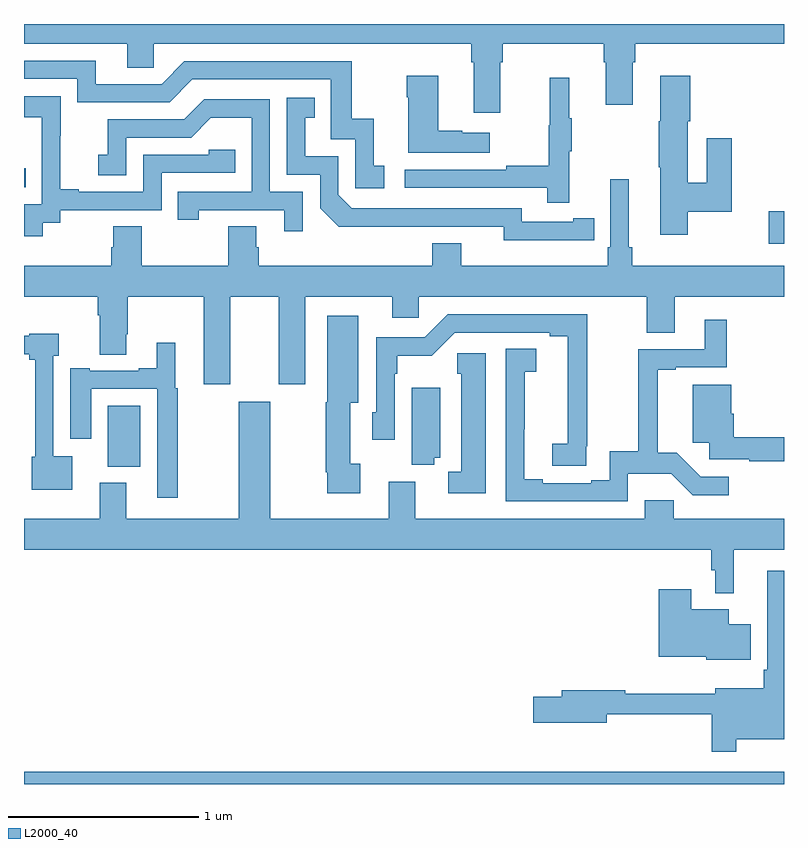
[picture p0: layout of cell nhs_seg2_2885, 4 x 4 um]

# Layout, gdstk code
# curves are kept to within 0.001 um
import gdstk
lib = gdstk.Library(unit=1e-6, precision=1e-09)
def R(c, l, rs):  # rectangles x0, y0, x1, y1
    for r in rs: c.add(gdstk.rectangle(r[:2], r[2:], *l))
def P(c, l, *ps):  # polygons
    for p in ps: c.add(gdstk.Polygon(p, *l))
L2000_40 = (2000, 40)

nhs_seg2_2885 = lib.new_cell('nhs_seg2_2885')
R(nhs_seg2_2885, L2000_40, [(263,583.8,267,583.864), (263.441,585.47,263.611,585.79), (266.919,586.643,267,586.814), (263,586.941,263.009,587.042)])
P(nhs_seg2_2885, L2000_40, [(265.507,587.6),(265.52,587.6),(265.52,587.696),(266.051,587.696),(266.051,587.6),(266.063,587.6),(266.063,587.376),(266.203,587.376),(266.203,587.6),(266.216,587.6),(266.216,587.696),(267,587.696),(267,587.8),(263,587.8),(263,587.696),(263.543,587.696),(263.543,587.569),(263.682,587.569),(263.682,587.696),(265.355,587.696),(265.355,587.6),(265.367,587.6),(265.367,587.334),(265.507,587.334)],
  [(264.895,587.055),(264.842,587.055),(264.842,587.302),(264.724,587.302),(264.724,587.604),(263.844,587.604),(263.724,587.484),(263.377,587.484),(263.377,587.607),(263,587.607),(263,587.511),(263.28,587.511),(263.28,587.388),(263.766,587.388),(263.886,587.508),(264.615,587.508),(264.615,587.193),(264.744,587.193),(264.744,586.935),(264.895,586.935)],
  [(266.494,586.811),(266.724,586.811),(266.724,587.2),(266.594,587.2),(266.594,586.964),(266.494,586.964),(266.494,587.287),(266.507,587.287),(266.507,587.527),(266.348,587.527),(266.348,587.288),(266.341,587.288),(266.341,587.047),(266.348,587.047),(266.348,586.692),(266.494,586.692)],
  [(265.45,587.227),(265.307,587.227),(265.307,587.237),(265.18,587.237),(265.18,587.527),(265.015,587.527),(265.015,587.414),(265.022,587.414),(265.022,587.123),(265.45,587.123)],
  [(265.871,587.131),(265.882,587.131),(265.882,587.305),(265.871,587.305),(265.871,587.518),(265.768,587.518),(265.768,587.268),(265.761,587.268),(265.761,587.054),(265.537,587.054),(265.537,587.034),(265.005,587.034),(265.005,586.938),(265.753,586.938),(265.753,586.86),(265.871,586.86)],
  [(263.098,586.753),(263.19,586.753),(263.19,586.821),(263.724,586.821),(263.724,587.016),(264.113,587.016),(264.113,587.139),(263.973,587.139),(263.973,587.112),(263.628,587.112),(263.628,586.917),(263.287,586.917),(263.287,586.93),(263.192,586.93),(263.192,587.213),(263.193,587.213),(263.193,587.419),(263,587.419),(263,587.309),(263.093,587.309),(263.093,587.081),(263.094,587.081),(263.094,586.851),(263,586.851),(263,586.683),(263.098,586.683)],
  [(265.892,586.662),(266,586.662),(266,586.778),(265.892,586.778),(265.892,586.758),(265.62,586.758),(265.62,586.83),(264.726,586.83),(264.654,586.902),(264.654,587.103),(264.481,587.103),(264.481,587.307),(264.53,587.307),(264.53,587.413),(264.384,587.413),(264.384,587.007),(264.558,587.007),(264.558,586.83),(264.656,586.733),(265.524,586.734),(265.524,586.661)],
  [(264.468,586.917),(264.294,586.917),(264.294,587.403),(263.948,587.403),(263.843,587.298),(263.44,587.298),(263.44,587.113),(263.391,587.113),(263.391,587.004),(263.538,587.004),(263.538,587.202),(263.88,587.202),(263.984,587.306),(264.198,587.306),(264.198,586.917),(263.809,586.917),(263.809,586.77),(263.92,586.77),(263.92,586.821),(264.371,586.821),(264.371,586.71),(264.468,586.71)],
  [(264.085,586.364),(264.341,586.364),(264.341,585.903),(264.481,585.903),(264.481,586.364),(264.938,586.364),(264.938,586.254),(265.077,586.254),(265.077,586.364),(266.278,586.364),(266.278,586.174),(266.425,586.174),(266.425,586.364),(267,586.364),(267,586.528),(266.201,586.528),(266.201,586.624),(266.182,586.624),(266.182,586.984),(266.085,586.984),(266.085,586.624),(266.072,586.624),(266.072,586.528),(265.3,586.528),(265.3,586.645),(265.148,586.645),(265.148,586.528),(264.236,586.528),(264.236,586.626),(264.223,586.626),(264.223,586.736),(264.076,586.736),(264.076,586.528),(263.619,586.528),(263.619,586.736),(263.471,586.736),(263.471,586.626),(263.459,586.626),(263.459,586.528),(263,586.528),(263,586.364),(263.387,586.364),(263.387,586.268),(263.399,586.268),(263.399,586.06),(263.539,586.06),(263.539,586.168),(263.547,586.168),(263.547,586.364),(263.945,586.364),(263.945,585.903),(264.085,585.903)],
  [(265.958,585.577),(265.964,585.577),(265.964,586.272),(265.23,586.272),(265.11,586.152),(264.855,586.152),(264.855,585.756),(264.834,585.756),(264.834,585.612),(264.951,585.612),(264.951,585.959),(264.964,585.959),(264.964,586.055),(265.145,586.055),(265.266,586.176),(265.766,586.176),(265.766,586.156),(265.862,586.156),(265.861,585.59),(265.779,585.59),(265.779,585.475),(265.958,585.475)],
  [(264.769,585.486),(264.718,585.486),(264.718,585.806),(264.76,585.806),(264.76,586.264),(264.596,586.264),(264.596,585.81),(264.589,585.81),(264.589,585.442),(264.596,585.442),(264.596,585.33),(264.769,585.33)],
  [(266.178,585.434),(266.407,585.434),(266.52,585.321),(266.71,585.321),(266.71,585.417),(266.562,585.417),(266.435,585.544),(266.336,585.544),(266.336,585.981),(266.431,585.981),(266.431,585.993),(266.699,585.993),(266.699,586.243),(266.582,586.243),(266.582,586.089),(266.233,586.089),(266.233,585.551),(266.082,585.551),(266.082,585.398),(265.985,585.398),(265.985,585.384),(265.729,585.384),(265.729,585.404),(265.633,585.404),(265.633,585.667),(265.635,585.667),(265.635,585.971),(265.696,585.971),(265.696,586.091),(265.536,586.091),(265.536,585.288),(266.178,585.288)],
  [(263.254,585.526),(263.154,585.526),(263.154,586.053),(263.182,586.053),(263.182,586.171),(263.028,586.171),(263.028,586.16),(263,586.16),(263,586.062),(263.028,586.062),(263.028,586.034),(263.058,586.034),(263.058,585.522),(263.042,585.522),(263.042,585.35),(263.254,585.35)],
  [(263.809,585.882),(263.797,585.882),(263.797,586.123),(263.699,586.123),(263.699,585.988),(263.603,585.988),(263.603,585.975),(263.347,585.975),(263.347,585.988),(263.243,585.988),(263.243,585.618),(263.353,585.618),(263.353,585.879),(263.7,585.879),(263.7,585.306),(263.809,585.306)],
  [(265.429,586.066),(265.279,586.066),(265.279,585.96),(265.301,585.96),(265.301,585.444),(265.233,585.444),(265.233,585.329),(265.429,585.329)],
  [(267,585.626),(266.735,585.626),(266.735,585.75),(266.722,585.75),(266.722,585.901),(266.519,585.901),(266.519,585.596),(266.607,585.596),(266.607,585.51),(266.818,585.51),(266.818,585.498),(267,585.498)],
  [(265.16,585.518),(265.192,585.518),(265.192,585.886),(265.04,585.886),(265.04,585.481),(265.16,585.481)],
  [(266.267,585.294),(266.267,585.196),(265.06,585.196),(265.06,585.391),(264.92,585.391),(264.92,585.196),(264.295,585.196),(264.295,585.811),(264.131,585.811),(264.131,585.196),(263.539,585.196),(263.539,585.385),(263.399,585.385),(263.399,585.196),(263,585.196),(263,585.032),(266.617,585.032),(266.617,584.925),(266.637,584.925),(266.637,584.804),(266.735,584.804),(266.735,585.032),(267,585.032),(267,585.196),(266.419,585.196),(266.419,585.294)],
  [(266.749,584.036),(267,584.036),(267,584.923),(266.913,584.923),(266.913,584.401),(266.893,584.401),(266.893,584.305),(266.639,584.305),(266.639,584.276),(266.164,584.276),(266.164,584.294),(265.829,584.294),(265.829,584.258),(265.68,584.258),(265.68,584.123),(266.068,584.123),(266.068,584.166),(266.62,584.166),(266.62,583.971),(266.749,583.971)],
  [(266.824,584.641),(266.71,584.641),(266.71,584.719),(266.512,584.719),(266.512,584.824),(266.342,584.824),(266.342,584.471),(266.592,584.471),(266.592,584.453),(266.824,584.453)])

lib.write_gds('nhs_seg2_2885.gds')
